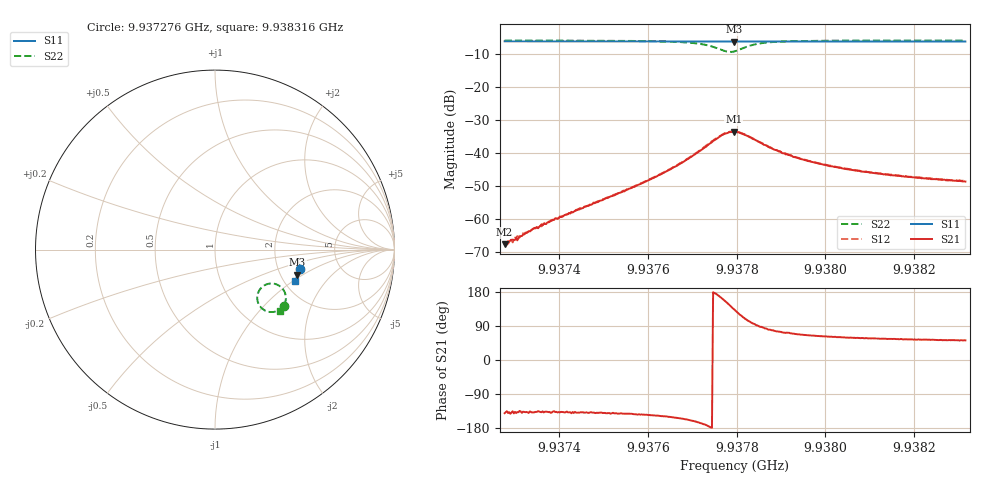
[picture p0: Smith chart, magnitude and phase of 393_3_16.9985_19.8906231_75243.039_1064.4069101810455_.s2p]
#  HZ  S  RI  R  50.00
! Rohde & Schwarz Vector Network Analyzer
! Rohde-Schwarz,ZNB20-2Port,1311601062101988,3.16
! Created: UTC 3/20/2024, 11:09:44 PM
! freq[Hz]  re:S11  im:S11  re:S21  im:S21  re:S12  im:S12  re:S22  im:S22
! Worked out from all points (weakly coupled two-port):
!   401 points, 9.937276 GHz to 9.938316 GHz, reference 50 ohm
!   highest |S21| = -33.63 dB at 9.937794 GHz (marker M1); lowest = -67.6 dB at 9.937276 GHz (marker M2)
!   lowest |S11| = -6.4 dB at 9.937794 GHz (marker M3), VSWR 2.84, Z = 123 - j44.6 ohm
!   |S11| at or under -10 dB: nowhere
!   |S22| runs from -9.5 to -6.1 dB; largest |S21 - S12| = 0.00079
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9.9372765e9  0.4716 -0.1067  -0.000321 -0.000266  -0.000308 -0.000239  0.3857 -0.3151
9.9372869e9  0.4714 -0.1075  -0.000339 -0.000306  -0.000333 -0.0003  0.3849 -0.3158
9.937292e9  0.4714 -0.1079  -0.000369 -0.000327  -0.000369 -0.000333  0.3843 -0.3163
9.9373102e9  0.4711 -0.109  -0.000372 -0.000379  -0.000409 -0.000381  0.383 -0.3175
9.937318e9  0.4708 -0.1095  -0.000422 -0.000401  -0.000469 -0.000392  0.3824 -0.3179
9.937344e9  0.4704 -0.1112  -0.000545 -0.000497  -0.000552 -0.000468  0.3803 -0.3201
9.9374506e9  0.468 -0.1184  -0.00108 -0.000971  -0.00114 -0.000968  0.3706 -0.3285
9.9375207e9  0.4666 -0.1233  -0.00172 -0.00148  -0.00178 -0.00143  0.3612 -0.3346
9.9376247e9  0.4641 -0.1302  -0.00389 -0.00249  -0.00396 -0.00248  0.3383 -0.3449
9.9376792e9  0.4625 -0.1339  -0.00661 -0.00304  -0.00679 -0.00302  0.3131 -0.3483
9.9377312e9  0.4605 -0.1372  -0.0123 -0.00179  -0.0128 -0.00146  0.266 -0.3315
9.9377676e9  0.4587 -0.1387  -0.0178 0.00589  -0.0178 0.00638  0.235 -0.2663
9.9377806e9  0.4585 -0.1392  -0.0172 0.0105  -0.0172 0.0113  0.2453 -0.2296
9.9377936e9  0.4583 -0.1394  -0.0146 0.0149  -0.0143 0.0156  0.2731 -0.2006
9.9377962e9  0.4584 -0.1394  -0.0137 0.0155  -0.0135 0.0161  0.2804 -0.1965
9.9378169e9  0.4585 -0.1404  -0.00677 0.0177  -0.00631 0.0182  0.3369 -0.1918
9.9378533e9  0.4587 -0.1429  0.000641 0.0142  0.00086 0.0145  0.3856 -0.2317
9.9379079e9  0.4579 -0.1469  0.00308 0.00936  0.00326 0.00934  0.3945 -0.2757
9.9379703e9  0.4562 -0.1513  0.00311 0.00657  0.00331 0.00661  0.389 -0.3002
9.938043e9  0.4544 -0.1562  0.00293 0.00496  0.00306 0.00497  0.3815 -0.3158
9.9381443e9  0.4518 -0.1628  0.00263 0.00385  0.00271 0.00382  0.3723 -0.329
9.9383158e9  0.4469 -0.1737  0.00228 0.0029  0.00241 0.00294  0.3595 -0.3433
